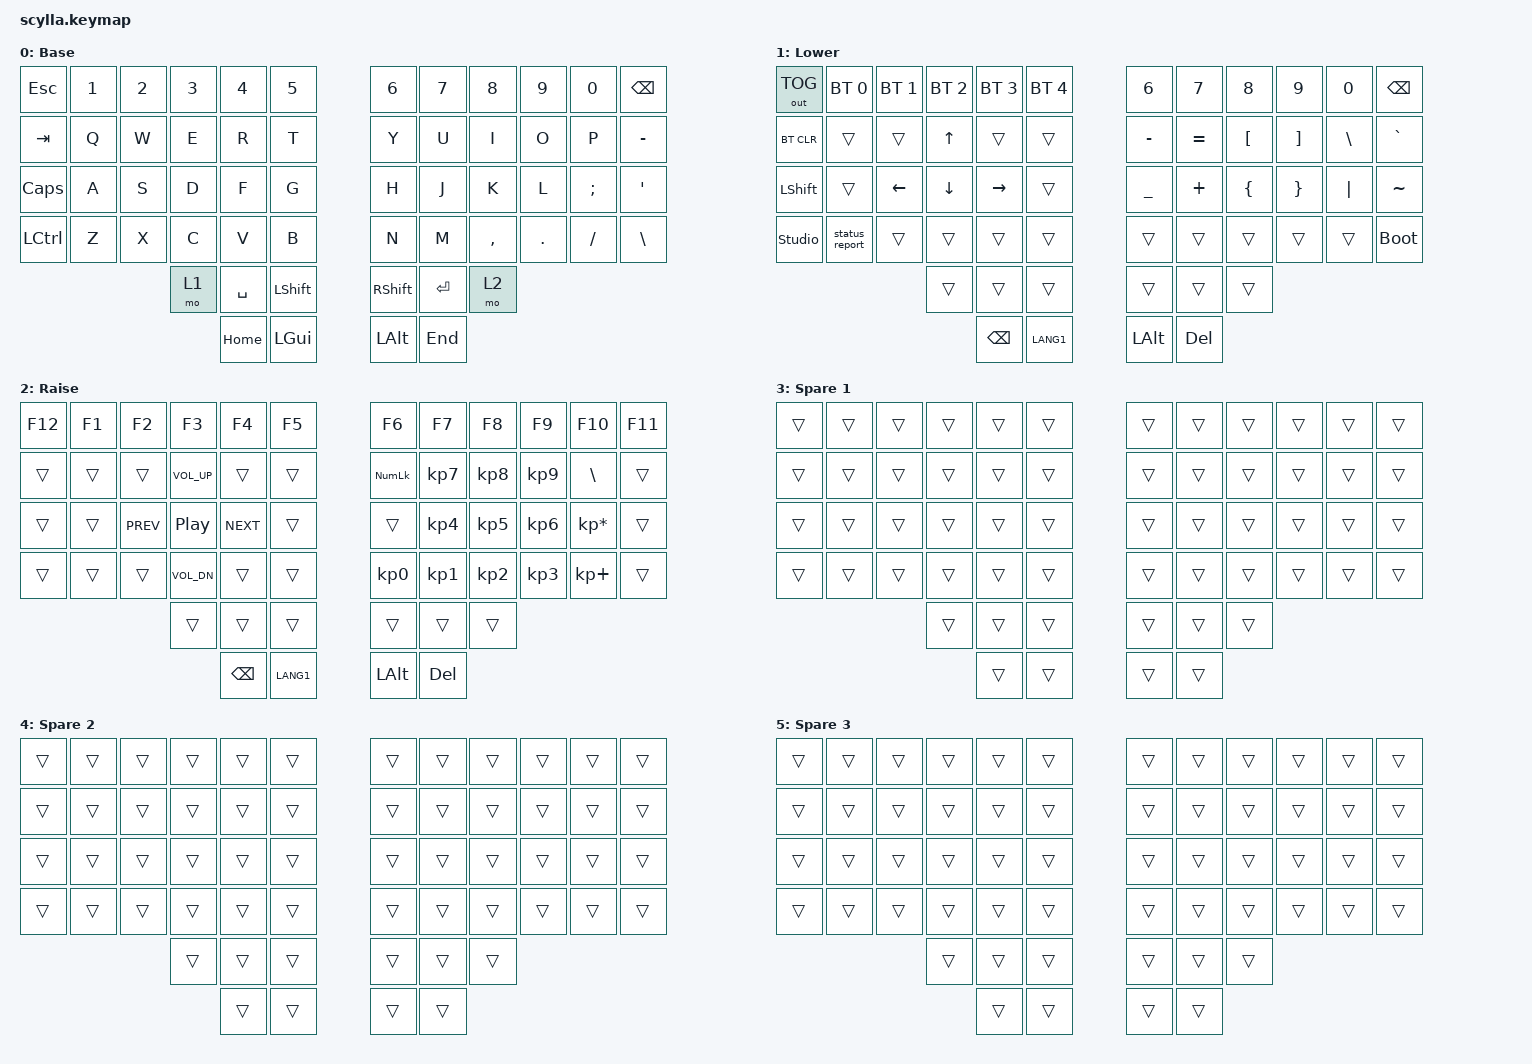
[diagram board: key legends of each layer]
/*
 * Scylla MK2 — keymap ported from gkstkdduq1/zmk-config (2023).
 *
 * IMPORTANT: once you save anything in ZMK Studio, the keyboard runs from
 * settings stored in flash and IGNORES this file. Later edits here do nothing
 * until you run "Restore Stock Settings" in Studio. This file is the seed and
 * the fallback; day-to-day remapping happens in Studio.
 *
 * Added on top of the original keymap:
 *   lower + bottom-left corner key  -> &studio_unlock  (unlocks Studio writes)
 *   lower + bottom-left+1 key       -> &status_report  (types out connection status)
 *   lower + bottom-right corner key -> &bootloader     (flash mode, no reset button)
 *
 * Spare 1/2/3 are all-&trans placeholder layers. ZMK Studio cannot create new
 * layers at runtime, only edit ones the firmware already defines — so these
 * exist purely to give Studio room to work with later.
 */

#include <behaviors.dtsi>
#include <dt-bindings/zmk/keys.h>
#include <dt-bindings/zmk/bt.h>
#include <dt-bindings/zmk/outputs.h>

/ {
    behaviors {
        // Types the current output / BLE profile / battery as text.
        // Nothing else can report this: the Studio RPC has no endpoint or
        // profile request, so the keyboard has to volunteer it as keystrokes.
        status_report: status_report {
            compatible = "zmk,behavior-status-report";
            #binding-cells = <0>;
            display-name = "Status Report";
        };
    };

    keymap {
        compatible = "zmk,keymap";

        default_layer {
            display-name = "Base";
// ---------------------------------------------------------------------------------------------
// | ESC  |  1  |  2  |  3  |  4  |  5  |   |  6  |  7  |  8  |  9  |  0  | BSPC |
// | TAB  |  Q  |  W  |  E  |  R  |  T  |   |  Y  |  U  |  I  |  O  |  P  |  -   |
// | CAPS |  A  |  S  |  D  |  F  |  G  |   |  H  |  J  |  K  |  L  |  ;  |  '   |
// | CTRL |  Z  |  X  |  C  |  V  |  B  |   |  N  |  M  |  ,  |  .  |  /  |  \   |
//              | LOWER | SPACE | LSHFT |   | RSHFT | ENTER | RAISE |
//                      | HOME  | LGUI  |   | LALT  | END   |
            bindings = <
   &kp ESC    &kp N1  &kp N2  &kp N3  &kp N4  &kp N5       &kp N6  &kp N7  &kp N8     &kp N9   &kp N0    &kp BSPC
   &kp TAB    &kp Q   &kp W   &kp E   &kp R   &kp T        &kp Y   &kp U   &kp I      &kp O    &kp P     &kp MINUS
   &kp CAPS   &kp A   &kp S   &kp D   &kp F   &kp G        &kp H   &kp J   &kp K      &kp L    &kp SEMI  &kp SQT
   &kp LCTRL  &kp Z   &kp X   &kp C   &kp V   &kp B        &kp N   &kp M   &kp COMMA  &kp DOT  &kp FSLH  &kp BSLH
                      &mo 1     &kp SPACE  &kp LSHIFT      &kp RSHIFT  &kp RET   &mo 2
                                &kp HOME   &kp LGUI        &kp LALT    &kp END
            >;
        };

        lower_layer {
            display-name = "Lower";
            bindings = <
   &out OUT_TOG    &bt BT_SEL 0  &bt BT_SEL 1  &bt BT_SEL 2  &bt BT_SEL 3  &bt BT_SEL 4    &kp N6     &kp N7     &kp N8    &kp N9    &kp N0    &kp BSPC
   &bt BT_CLR      &trans        &trans        &kp UP        &trans        &trans          &kp MINUS  &kp EQUAL  &kp LBKT  &kp RBKT  &kp BSLH  &kp GRAVE
   &kp LSHFT       &trans        &kp LEFT      &kp DOWN      &kp RIGHT     &trans          &kp UNDER  &kp PLUS   &kp LBRC  &kp RBRC  &kp PIPE  &kp TILDE
   &studio_unlock  &status_report  &trans      &trans        &trans        &trans          &trans     &trans     &trans    &trans    &trans    &bootloader
                                 &trans     &trans      &trans            &trans     &trans     &trans
                                            &kp BSPC   &kp LANG1         &kp LALT   &kp DEL
            >;
        };

        raise_layer {
            display-name = "Raise";
            bindings = <
   &kp F12  &kp F1  &kp F2      &kp F3            &kp F4      &kp F5     &kp F6          &kp F7     &kp F8     &kp F9     &kp F10          &kp F11
   &trans   &trans  &trans      &kp C_VOL_UP      &trans      &trans     &kp KP_NUMLOCK  &kp KP_N7  &kp KP_N8  &kp KP_N9  &kp BSLH         &trans
   &trans   &trans  &kp C_PREV  &kp C_PLAY_PAUSE  &kp C_NEXT  &trans     &trans          &kp KP_N4  &kp KP_N5  &kp KP_N6  &kp KP_MULTIPLY  &trans
   &trans   &trans  &trans      &kp C_VOL_DN      &trans      &trans     &kp KP_N0       &kp KP_N1  &kp KP_N2  &kp KP_N3  &kp KP_PLUS      &trans
                    &trans    &trans     &trans                &trans    &trans    &trans
                              &kp BSPC  &kp LANG1              &kp LALT  &kp DEL
            >;
        };

        spare_1_layer {
            display-name = "Spare 1";
            bindings = <
   &trans  &trans  &trans  &trans  &trans  &trans       &trans  &trans  &trans  &trans  &trans  &trans
   &trans  &trans  &trans  &trans  &trans  &trans       &trans  &trans  &trans  &trans  &trans  &trans
   &trans  &trans  &trans  &trans  &trans  &trans       &trans  &trans  &trans  &trans  &trans  &trans
   &trans  &trans  &trans  &trans  &trans  &trans       &trans  &trans  &trans  &trans  &trans  &trans
                   &trans  &trans  &trans               &trans  &trans  &trans
                           &trans  &trans               &trans  &trans
            >;
        };

        spare_2_layer {
            display-name = "Spare 2";
            bindings = <
   &trans  &trans  &trans  &trans  &trans  &trans       &trans  &trans  &trans  &trans  &trans  &trans
   &trans  &trans  &trans  &trans  &trans  &trans       &trans  &trans  &trans  &trans  &trans  &trans
   &trans  &trans  &trans  &trans  &trans  &trans       &trans  &trans  &trans  &trans  &trans  &trans
   &trans  &trans  &trans  &trans  &trans  &trans       &trans  &trans  &trans  &trans  &trans  &trans
                   &trans  &trans  &trans               &trans  &trans  &trans
                           &trans  &trans               &trans  &trans
            >;
        };

        spare_3_layer {
            display-name = "Spare 3";
            bindings = <
   &trans  &trans  &trans  &trans  &trans  &trans       &trans  &trans  &trans  &trans  &trans  &trans
   &trans  &trans  &trans  &trans  &trans  &trans       &trans  &trans  &trans  &trans  &trans  &trans
   &trans  &trans  &trans  &trans  &trans  &trans       &trans  &trans  &trans  &trans  &trans  &trans
   &trans  &trans  &trans  &trans  &trans  &trans       &trans  &trans  &trans  &trans  &trans  &trans
                   &trans  &trans  &trans               &trans  &trans  &trans
                           &trans  &trans               &trans  &trans
            >;
        };
    };
};
